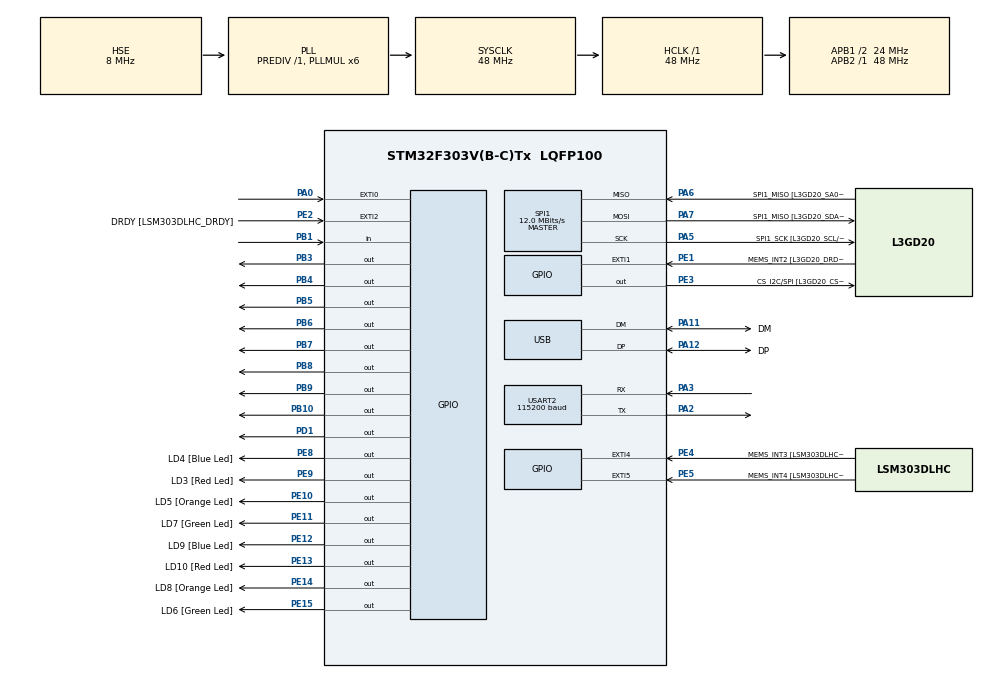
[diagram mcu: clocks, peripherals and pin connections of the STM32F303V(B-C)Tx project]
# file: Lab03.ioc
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Mcu.Family=STM32F3
Mcu.Name=STM32F303V(B-C)Tx
Mcu.Package=LQFP100
NVIC.PriorityGroup=NVIC_PRIORITYGROUP_0
PA0.Signal=GPXTI0
PA11.GPIO_Label=DM
PA11.Mode=Device
PA11.Signal=USB_DM
PA12.GPIO_Label=DP
PA12.Mode=Device
PA12.Signal=USB_DP
PA13.GPIO_Label=SWDIO
PA13.Mode=Serial_Wire
PA13.Signal=SYS_JTMS-SWDIO
PA14.GPIO_Label=SWCLK
PA14.Mode=Serial_Wire
PA14.Signal=SYS_JTCK-SWCLK
PA2.Mode=Asynchronous
PA2.Signal=USART2_TX
PA3.Mode=Asynchronous
PA3.Signal=USART2_RX
PA5.GPIO_Label=SPI1_SCK [L3GD20_SCL/SPC]
PA5.Mode=Full_Duplex_Master
PA5.Signal=SPI1_SCK
PA6.GPIO_Label=SPI1_MISO [L3GD20_SA0/SDO]
PA6.Mode=Full_Duplex_Master
PA6.Signal=SPI1_MISO
PA7.GPIO_Label=SPI1_MISO [L3GD20_SDA/SDI/SDO]
PA7.Mode=Full_Duplex_Master
PA7.Signal=SPI1_MOSI
PB1.Signal=GPIO_Input
PB10.Signal=GPIO_Output
PB3.Signal=GPIO_Output
PB4.Signal=GPIO_Output
PB5.Signal=GPIO_Output
PB6.Signal=GPIO_Output
PB7.Signal=GPIO_Output
PB8.Signal=GPIO_Output
PB9.Signal=GPIO_Output
PC14-OSC32_IN.GPIO_Label=OSC32_IN
PC14-OSC32_IN.Signal=RCC_OSC32_IN
PC15-OSC32_OUT.GPIO_Label=OSC32_OUT
PC15-OSC32_OUT.Signal=RCC_OSC32_OUT
PD1.Signal=GPIO_Output
PE1.GPIO_Label=MEMS_INT2 [L3GD20_DRDY/INT2]
PE1.GPIO_ModeDefaultEXTI=GPIO_MODE_EVT_RISING
PE1.Signal=GPXTI1
PE10.GPIO_Label=LD5 [Orange Led]
PE10.Signal=GPIO_Output
PE11.GPIO_Label=LD7 [Green Led]
PE11.Signal=GPIO_Output
PE12.GPIO_Label=LD9 [Blue Led]
PE12.Signal=GPIO_Output
PE13.GPIO_Label=LD10 [Red Led]
PE13.Signal=GPIO_Output
PE14.GPIO_Label=LD8 [Orange Led]
PE14.Signal=GPIO_Output
PE15.GPIO_Label=LD6 [Green Led]
PE15.Signal=GPIO_Output
PE2.GPIO_Label=DRDY [LSM303DLHC_DRDY]
PE2.GPIO_ModeDefaultEXTI=GPIO_MODE_EVT_RISING
PE2.Signal=GPXTI2
PE3.GPIO_Label=CS_I2C/SPI [L3GD20_CS_I2C/SPI]
PE3.Signal=GPIO_Output
PE4.GPIO_Label=MEMS_INT3 [LSM303DLHC_INT1]
PE4.GPIO_ModeDefaultEXTI=GPIO_MODE_EVT_RISING
PE4.Signal=GPXTI4
PE5.GPIO_Label=MEMS_INT4 [LSM303DLHC_INT2]
PE5.GPIO_ModeDefaultEXTI=GPIO_MODE_EVT_RISING
PE5.Signal=GPXTI5
PE8.GPIO_Label=LD4 [Blue Led]
PE8.Signal=GPIO_Output
PE9.GPIO_Label=LD3 [Red Led]
PE9.Signal=GPIO_Output
PF0-OSC_IN.GPIO_Label=OSC_IN
PF0-OSC_IN.Mode=HSE-External-Clock-Source
PF0-OSC_IN.Signal=RCC_OSC_IN
PF1-OSC_OUT.GPIO_Label=OSC_OUT
PF1-OSC_OUT.Signal=RCC_OSC_OUT
ProjectManager.HeapSize=0x200
ProjectManager.StackSize=0x400
ProjectManager.TargetToolchain=CMake
RCC.AHBFreq_Value=48000000
RCC.APB1CLKDivider=RCC_HCLK_DIV2
RCC.APB1Freq_Value=24000000
RCC.APB1TimFreq_Value=48000000
RCC.APB2Freq_Value=48000000
RCC.APB2TimFreq_Value=48000000
RCC.CortexFreq_Value=48000000
RCC.HCLKFreq_Value=48000000
RCC.HSE_VALUE=8000000
RCC.HSI_VALUE=8000000
RCC.LSE_VALUE=32768
RCC.PLLMUL=RCC_PLL_MUL6
RCC.SYSCLKFreq_VALUE=48000000
RCC.SYSCLKSourceVirtual=RCC_SYSCLKSOURCE_PLLCLK
RCC.USBFreq_Value=48000000
SPI1.BaudRatePrescaler=SPI_BAUDRATEPRESCALER_4
SPI1.BaudRatePrescaler-Full_Duplex_Master=SPI_BAUDRATEPRESCALER_2
SPI1.CalculateBaudRate=12.0 MBits/s
SPI1.CalculateBaudRate-Full_Duplex_Master=24.0 MBits/s
SPI1.Direction=SPI_DIRECTION_2LINES
SPI1.Mode=SPI_MODE_MASTER
SPI1.Mode-Full_Duplex_Master=SPI_MODE_MASTER
SPI1.VirtualType=VM_MASTER
USART2.BaudRate=115200
USART2.VirtualMode-Asynchronous=VM_ASYNC
board=STM32F3DISCOVERY

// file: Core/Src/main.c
/* USER CODE BEGIN Header */
/**
  ******************************************************************************
  * @file           : main.c
  * @brief          : Main program body
  ******************************************************************************
  * @attention
  *
  * Copyright (c) 2025 STMicroelectronics.
  * All rights reserved.
  *
  * This software is licensed under terms that can be found in the LICENSE file
  * in the root directory of this software component.
  * If no LICENSE file comes with this software, it is provided AS-IS.
  *
  ******************************************************************************
  */
/* USER CODE END Header */
#include "main.h"
#include "stdlib.h"
#define SEG_A_PIN GPIO_PIN_3
#define SEG_B_PIN GPIO_PIN_4
#define SEG_C_PIN GPIO_PIN_5
#define SEG_D_PIN GPIO_PIN_6
#define SEG_E_PIN GPIO_PIN_7
#define SEG_F_PIN GPIO_PIN_8
#define SEG_G_PIN GPIO_PIN_9
#define SEG_PORT GPIOB
#define BUTTON_Pin GPIO_PIN_0
#define BUTTON_GPIO_Port GPIOA
#define EXT_BUTTON GPIO_PIN_1
#define EXT_BUTTON_GPIO_PORT GPIOB

// All segment pins combined for easy clearing
#define ALL_SEGMENTS (SEG_A_PIN | SEG_B_PIN | SEG_C_PIN | SEG_D_PIN | SEG_E_PIN | SEG_F_PIN | SEG_G_PIN)

SPI_HandleTypeDef hspi1;

UART_HandleTypeDef huart2;

PCD_HandleTypeDef hpcd_USB_FS;

/* USER CODE BEGIN PV */
// Seven segment display patterns for hex digits 0-F
// Bit positions: G F E D C B A (LSB)
// 1 = segment ON, 0 = segment OFF (for common cathode)
const uint8_t hex_patterns[16] = {
    0x40, // 0: A B C D E F
    0x79, // 1: B C
    0x24, // 2: A B G E D
    0x30, // 3: A B G C D
    0x19, // 4: F G B C
    0x12, // 5: A F G C D
    0x02, // 6: A F G E D C
    0x78, // 7: A B C
    0x00, // 8: A B C D E F G
    0x10, // 9: A B C D F G
    0x08, // A: A B C E F G
    0x03, // b: F G E D C
    0x46, // C: A F E D
    0x21, // d: B G E D C
    0x06, // E: A F G E D
    0x0E  // F: A F G E
};
/* USER CODE END PV */

const uint8_t seven_segment_patterns[] = {
        0x40, // 0
        0x00, // 8
        0x10, // 9
        0x78, // 7
        0x12, // 5

    };

void SystemClock_Config(void);
static void MX_GPIO_Init(void);
static void MX_SPI1_Init(void);
static void MX_USB_PCD_Init(void);
static void MX_USART2_UART_Init(void);
/* USER CODE BEGIN PFP */
void display_number(uint8_t num);
void clear_display(void);
/* USER CODE END PFP */

/* USER CODE BEGIN 0 */
/**
 * @brief Display a hexadecimal digit (0-F) on seven segment display
 * @param num: Number to display (0-15)
 * @retval None
 */
void display_number(uint8_t num) {
    // Ensure input is within valid range
    if (num > 15) {
        return;
    }

    // Clear all segments first
    clear_display();

    // Get the pattern for the digit
    uint8_t pattern = hex_patterns[num];

    // Set individual segments based on pattern
    if (pattern & 0x01) HAL_GPIO_WritePin(SEG_PORT, SEG_A_PIN, GPIO_PIN_SET);
    if (pattern & 0x02) HAL_GPIO_WritePin(SEG_PORT, SEG_B_PIN, GPIO_PIN_SET);
    if (pattern & 0x04) HAL_GPIO_WritePin(SEG_PORT, SEG_C_PIN, GPIO_PIN_SET);
    if (pattern & 0x08) HAL_GPIO_WritePin(SEG_PORT, SEG_D_PIN, GPIO_PIN_SET);
    if (pattern & 0x10) HAL_GPIO_WritePin(SEG_PORT, SEG_E_PIN, GPIO_PIN_SET);
    if (pattern & 0x20) HAL_GPIO_WritePin(SEG_PORT, SEG_F_PIN, GPIO_PIN_SET);
    if (pattern & 0x40) HAL_GPIO_WritePin(SEG_PORT, SEG_G_PIN, GPIO_PIN_SET);
}

/**
 * @brief Clear all segments of the display
 * @param None
 * @retval None
 */
void clear_display(void) {
    HAL_GPIO_WritePin(SEG_PORT, ALL_SEGMENTS, GPIO_PIN_RESET);
}
/* USER CODE END 0 */

int main(void)
{

  /* MCU Configuration--------------------------------------------------------*/

  /* Reset of all peripherals, Initializes the Flash interface and the Systick. */
  HAL_Init();

  /* Configure the system clock */
  SystemClock_Config();

  /* Initialize all configured peripherals */
  MX_GPIO_Init();
  MX_SPI1_Init();
  MX_USB_PCD_Init();
  MX_USART2_UART_Init();

  /* Infinite loop */
  /* USER CODE BEGIN WHILE */

  /*TASK 1 COMPLETE
   while (1)
   {
     for (uint8_t i = 0; i <= 15; i++) {
         display_number(i);
         HAL_Delay(2000); // 2 second delay
     }
   }
  */

//Task # 2
/*uint8_t number_array[] = {0, 8, 9, 7, 5}; // Your array of numbers
uint8_t array_index = 0;

  while (1)
  {
    if (HAL_GPIO_ReadPin(BUTTON_GPIO_Port, BUTTON_Pin) == GPIO_PIN_RESET) { // Assuming button pulls low on press
            HAL_Delay(50); // Simple debouncing delay
            while (HAL_GPIO_ReadPin(BUTTON_GPIO_Port, BUTTON_Pin) == GPIO_PIN_RESET); // Wait for button release

            array_index++;
            if (array_index >= sizeof(number_array) / sizeof(number_array[0])) {
                array_index = 0; // Loop back to the beginning
            }
            display_number(number_array[array_index]);
        }
  }*/

 /*Task # 4
while(1){
  if (HAL_GPIO_ReadPin(BUTTON_GPIO_Port, BUTTON_Pin)==GPIO_PIN_RESET) {
    HAL_Delay(50);
    while (HAL_GPIO_ReadPin(BUTTON_GPIO_Port, BUTTON_Pin) == GPIO_PIN_RESET);
      for (int i=1; i<=6; i++){
        int num = rand() % 6 + 1;
        display_number(num);
      }

  }

}*/

//Task # 3

uint8_t array[]={1,2,3,4,5,6,7,8,9,10,11,12,13,14,15,16};
uint8_t index=0;

while (1){
  if (HAL_GPIO_ReadPin(BUTTON_GPIO_Port, BUTTON_Pin)==GPIO_PIN_RESET) {
    HAL_Delay(50);
    while (HAL_GPIO_ReadPin(BUTTON_GPIO_Port, BUTTON_Pin) == GPIO_PIN_RESET);
    index--;

    if (index >= sizeof(array) / sizeof(array[0])) {
                index = 0; // Loop back to the beginning
            }
            display_number(array[index]);
        }

  if (HAL_GPIO_ReadPin(GPIOB, GPIO_PIN_1) == GPIO_PIN_RESET) {
    HAL_Delay(50);
    while(HAL_GPIO_ReadPin(GPIOB, GPIO_PIN_1) == GPIO_PIN_RESET);
    index++;
  }

  if (index >= sizeof(array) / sizeof(array[0])) {
                index = 0; // Loop back to the beginning
            }
            display_number(array[index]);
        }

}

void SystemClock_Config(void)
{
  RCC_OscInitTypeDef RCC_OscInitStruct = {0};
  RCC_ClkInitTypeDef RCC_ClkInitStruct = {0};
  RCC_PeriphCLKInitTypeDef PeriphClkInit = {0};

  /** Initializes the RCC Oscillators according to the specified parameters
  * in the RCC_OscInitTypeDef structure.
  */
  RCC_OscInitStruct.OscillatorType = RCC_OSCILLATORTYPE_HSE;
  RCC_OscInitStruct.HSEState = RCC_HSE_BYPASS;
  RCC_OscInitStruct.HSEPredivValue = RCC_HSE_PREDIV_DIV1;
  RCC_OscInitStruct.HSIState = RCC_HSI_ON;
  RCC_OscInitStruct.PLL.PLLState = RCC_PLL_ON;
  RCC_OscInitStruct.PLL.PLLSource = RCC_PLLSOURCE_HSE;
  RCC_OscInitStruct.PLL.PLLMUL = RCC_PLL_MUL6;
  if (HAL_RCC_OscConfig(&RCC_OscInitStruct) != HAL_OK)
  {
    Error_Handler();
  }

  /** Initializes the CPU, AHB and APB buses clocks
  */
  RCC_ClkInitStruct.ClockType = RCC_CLOCKTYPE_HCLK|RCC_CLOCKTYPE_SYSCLK
                              |RCC_CLOCKTYPE_PCLK1|RCC_CLOCKTYPE_PCLK2;
  RCC_ClkInitStruct.SYSCLKSource = RCC_SYSCLKSOURCE_PLLCLK;
  RCC_ClkInitStruct.AHBCLKDivider = RCC_SYSCLK_DIV1;
  RCC_ClkInitStruct.APB1CLKDivider = RCC_HCLK_DIV2;
  RCC_ClkInitStruct.APB2CLKDivider = RCC_HCLK_DIV1;

  if (HAL_RCC_ClockConfig(&RCC_ClkInitStruct, FLASH_LATENCY_1) != HAL_OK)
  {
    Error_Handler();
  }
  PeriphClkInit.PeriphClockSelection = RCC_PERIPHCLK_USB|RCC_PERIPHCLK_USART2;
  PeriphClkInit.Usart2ClockSelection = RCC_USART2CLKSOURCE_PCLK1;
  PeriphClkInit.USBClockSelection = RCC_USBCLKSOURCE_PLL;
  if (HAL_RCCEx_PeriphCLKConfig(&PeriphClkInit) != HAL_OK)
  {
    Error_Handler();
  }
}

static void MX_SPI1_Init(void)
{

  /* SPI1 parameter configuration*/
  hspi1.Instance = SPI1;
  hspi1.Init.Mode = SPI_MODE_MASTER;
  hspi1.Init.Direction = SPI_DIRECTION_2LINES;
  hspi1.Init.DataSize = SPI_DATASIZE_4BIT;
  hspi1.Init.CLKPolarity = SPI_POLARITY_LOW;
  hspi1.Init.CLKPhase = SPI_PHASE_1EDGE;
  hspi1.Init.NSS = SPI_NSS_SOFT;
  hspi1.Init.BaudRatePrescaler = SPI_BAUDRATEPRESCALER_4;
  hspi1.Init.FirstBit = SPI_FIRSTBIT_MSB;
  hspi1.Init.TIMode = SPI_TIMODE_DISABLE;
  hspi1.Init.CRCCalculation = SPI_CRCCALCULATION_DISABLE;
  hspi1.Init.CRCPolynomial = 7;
  hspi1.Init.CRCLength = SPI_CRC_LENGTH_DATASIZE;
  hspi1.Init.NSSPMode = SPI_NSS_PULSE_ENABLE;
  if (HAL_SPI_Init(&hspi1) != HAL_OK)
  {
    Error_Handler();
  }

}

static void MX_USART2_UART_Init(void)
{

  huart2.Instance = USART2;
  huart2.Init.BaudRate = 115200;
  huart2.Init.WordLength = UART_WORDLENGTH_8B;
  huart2.Init.StopBits = UART_STOPBITS_1;
  huart2.Init.Parity = UART_PARITY_NONE;
  huart2.Init.Mode = UART_MODE_TX_RX;
  huart2.Init.HwFlowCtl = UART_HWCONTROL_NONE;
  huart2.Init.OverSampling = UART_OVERSAMPLING_16;
  huart2.Init.OneBitSampling = UART_ONE_BIT_SAMPLE_DISABLE;
  huart2.AdvancedInit.AdvFeatureInit = UART_ADVFEATURE_NO_INIT;
  if (HAL_UART_Init(&huart2) != HAL_OK)
  {
    Error_Handler();
  }

}

static void MX_USB_PCD_Init(void)
{

  hpcd_USB_FS.Instance = USB;
  hpcd_USB_FS.Init.dev_endpoints = 8;
  hpcd_USB_FS.Init.speed = PCD_SPEED_FULL;
  hpcd_USB_FS.Init.phy_itface = PCD_PHY_EMBEDDED;
  hpcd_USB_FS.Init.low_power_enable = DISABLE;
  hpcd_USB_FS.Init.battery_charging_enable = DISABLE;
  if (HAL_PCD_Init(&hpcd_USB_FS) != HAL_OK)
  {
    Error_Handler();
  }

}

static void MX_GPIO_Init(void)
{
  GPIO_InitTypeDef GPIO_InitStruct = {0};

  /* GPIO Ports Clock Enable */
  __HAL_RCC_GPIOE_CLK_ENABLE();
  __HAL_RCC_GPIOC_CLK_ENABLE();
  __HAL_RCC_GPIOF_CLK_ENABLE();
  __HAL_RCC_GPIOA_CLK_ENABLE();
  __HAL_RCC_GPIOB_CLK_ENABLE();
  __HAL_RCC_GPIOD_CLK_ENABLE();

  /*Configure GPIO pin Output Level */
  HAL_GPIO_WritePin(GPIOE, CS_I2C_SPI_Pin|LD4_Pin|LD3_Pin|LD5_Pin
                          |LD7_Pin|LD9_Pin|LD10_Pin|LD8_Pin
                          |LD6_Pin, GPIO_PIN_RESET);

  /*Configure GPIO pin Output Level */
  HAL_GPIO_WritePin(GPIOB, GPIO_PIN_10|GPIO_PIN_3|GPIO_PIN_4|GPIO_PIN_5
                          |GPIO_PIN_6|GPIO_PIN_7|GPIO_PIN_8|GPIO_PIN_9, GPIO_PIN_RESET);

  /*Configure GPIO pin Output Level */
  HAL_GPIO_WritePin(GPIOD, GPIO_PIN_1, GPIO_PIN_RESET);

  /*Configure GPIO pins : DRDY_Pin MEMS_INT3_Pin MEMS_INT4_Pin MEMS_INT2_Pin */
  GPIO_InitStruct.Pin = DRDY_Pin|MEMS_INT3_Pin|MEMS_INT4_Pin|MEMS_INT2_Pin;
  GPIO_InitStruct.Mode = GPIO_MODE_EVT_RISING;
  GPIO_InitStruct.Pull = GPIO_NOPULL;
  HAL_GPIO_Init(GPIOE, &GPIO_InitStruct);

  /*Configure GPIO pins : CS_I2C_SPI_Pin LD4_Pin LD3_Pin LD5_Pin
                           LD7_Pin LD9_Pin LD10_Pin LD8_Pin
                           LD6_Pin */
  GPIO_InitStruct.Pin = CS_I2C_SPI_Pin|LD4_Pin|LD3_Pin|LD5_Pin
                          |LD7_Pin|LD9_Pin|LD10_Pin|LD8_Pin
                          |LD6_Pin;
  GPIO_InitStruct.Mode = GPIO_MODE_OUTPUT_PP;
  GPIO_InitStruct.Pull = GPIO_NOPULL;
  GPIO_InitStruct.Speed = GPIO_SPEED_FREQ_LOW;
  HAL_GPIO_Init(GPIOE, &GPIO_InitStruct);

  /*Configure GPIO pin : PA0 */
  GPIO_InitStruct.Pin = GPIO_PIN_0;
  GPIO_InitStruct.Mode = GPIO_MODE_IT_RISING;
  GPIO_InitStruct.Pull = GPIO_NOPULL;
  HAL_GPIO_Init(GPIOA, &GPIO_InitStruct);

  /*Configure GPIO pin : PB1 */
  GPIO_InitStruct.Pin = GPIO_PIN_1;
  GPIO_InitStruct.Mode = GPIO_MODE_INPUT;
  GPIO_InitStruct.Pull = GPIO_NOPULL;
  HAL_GPIO_Init(GPIOB, &GPIO_InitStruct);

  /*Configure GPIO pins : PB10 PB3 PB4 PB5
                           PB6 PB7 PB8 PB9 */
  GPIO_InitStruct.Pin = GPIO_PIN_10|GPIO_PIN_3|GPIO_PIN_4|GPIO_PIN_5
                          |GPIO_PIN_6|GPIO_PIN_7|GPIO_PIN_8|GPIO_PIN_9;
  GPIO_InitStruct.Mode = GPIO_MODE_OUTPUT_PP;
  GPIO_InitStruct.Pull = GPIO_NOPULL;
  GPIO_InitStruct.Speed = GPIO_SPEED_FREQ_LOW;
  HAL_GPIO_Init(GPIOB, &GPIO_InitStruct);

  /*Configure GPIO pin : PD1 */
  GPIO_InitStruct.Pin = GPIO_PIN_1;
  GPIO_InitStruct.Mode = GPIO_MODE_OUTPUT_PP;
  GPIO_InitStruct.Pull = GPIO_NOPULL;
  GPIO_InitStruct.Speed = GPIO_SPEED_FREQ_LOW;
  HAL_GPIO_Init(GPIOD, &GPIO_InitStruct);

}

void Error_Handler(void)
{
  __disable_irq();
  while (1)
  {
  }
}
